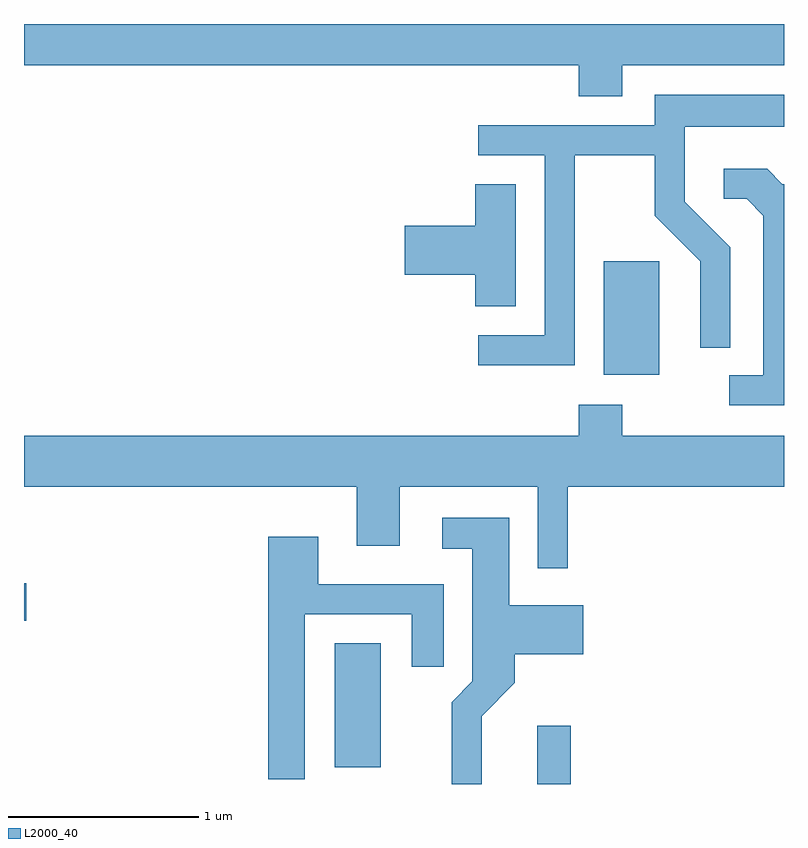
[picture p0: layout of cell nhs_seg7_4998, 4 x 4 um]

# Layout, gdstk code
import gdstk
lib = gdstk.Library(unit=1e-6, precision=1e-09)
def R(c, l, rs):  # rectangles x0, y0, x1, y1
    for r in rs: c.add(gdstk.rectangle(r[:2], r[2:], *l))
def P(c, l, *ps):  # polygons
    for p in ps: c.add(gdstk.Polygon(p, *l))
L2000_40 = (2000, 40)

nhs_seg7_4998 = lib.new_cell('nhs_seg7_4998')
R(nhs_seg7_4998, L2000_40, [(340.311,1768.252,340.489,1768.559), (339.246,1768.341,339.489,1768.994), (337.611,1769.111,337.624,1769.309), (340.661,1770.406,340.954,1771.004)])
P(nhs_seg7_4998, L2000_40, [(340.759,1772.036),(341.611,1772.036),(341.611,1772.252),(337.611,1772.252),(337.611,1772.036),(340.531,1772.036),(340.531,1771.871),(340.759,1771.871)],
  [(340.509,1771.561),(340.931,1771.561),(340.931,1771.244),(341.171,1771.004),(341.171,1770.548),(341.329,1770.548),(341.329,1771.077),(341.089,1771.317),(341.089,1771.711),(341.611,1771.711),(341.611,1771.879),(340.931,1771.879),(340.931,1771.719),(340.003,1771.719),(340.003,1771.561),(340.351,1771.561),(340.351,1770.614),(340.003,1770.614),(340.003,1770.456),(340.509,1770.456)],
  [(341.611,1771.409),(341.602,1771.409),(341.522,1771.489),(341.293,1771.489),(341.293,1771.331),(341.414,1771.331),(341.501,1771.244),(341.501,1770.404),(341.323,1770.404),(341.323,1770.246),(341.611,1770.246)],
  [(340.199,1771.409),(339.986,1771.409),(339.986,1771.189),(339.616,1771.189),(339.616,1770.931),(339.986,1770.931),(339.986,1770.766),(340.199,1770.766)],
  [(340.474,1769.816),(341.611,1769.816),(341.611,1770.084),(340.759,1770.084),(340.759,1770.249),(340.531,1770.249),(340.531,1770.084),(337.611,1770.084),(337.611,1769.816),(339.361,1769.816),(339.361,1769.506),(339.589,1769.506),(339.589,1769.816),(340.316,1769.816),(340.316,1769.388),(340.474,1769.388)],
  [(340.019,1768.609),(340.194,1768.784),(340.194,1768.936),(340.554,1768.936),(340.554,1769.194),(340.164,1769.194),(340.164,1769.654),(339.813,1769.654),(339.813,1769.491),(339.971,1769.491),(339.971,1768.792),(339.861,1768.682),(339.861,1768.252),(340.019,1768.252)],
  [(339.089,1769.146),(339.651,1769.146),(339.651,1768.868),(339.819,1768.868),(339.819,1769.304),(339.159,1769.304),(339.159,1769.554),(338.896,1769.554),(338.896,1768.276),(339.089,1768.276)])

lib.write_gds('nhs_seg7_4998.gds')
